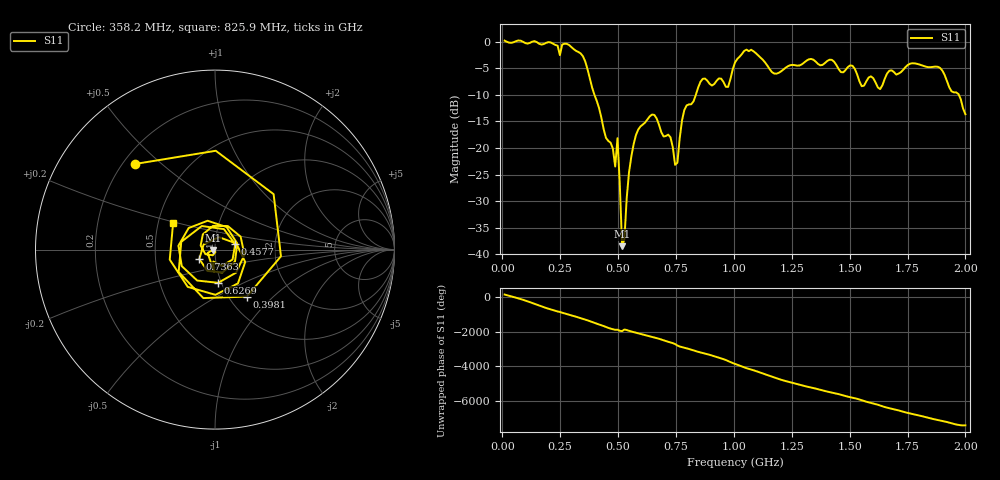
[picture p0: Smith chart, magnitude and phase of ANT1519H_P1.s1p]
!Created with skrf (http://scikit-rf.org).
# Hz S RI R 50.0
!freq ReS11 ImS11
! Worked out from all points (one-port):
!   201 points, 10 MHz to 2 GHz, reference 50 ohm
!   lowest |S11| = -38.5 dB at 517.5 MHz (marker M1), VSWR 1.02, Z = 48.8 - j0.161 ohm
!   |S11| at or under -10 dB: 398.1 MHz to 835.7 MHz (437.6 MHz wide, 70.9 % of centre); 1.972 GHz to end of sweep
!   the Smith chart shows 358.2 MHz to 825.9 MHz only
!   S11 on the Smith chart (normalised r, x): 358.2 MHz: 0.25, +0.41; 398.1 MHz: 1.21, -0.70; 457.8 MHz: 1.25, +0.08; 626.9 MHz: 0.97, -0.37; 736.4 MHz: 0.84, -0.09; 825.9 MHz: 0.60, +0.19
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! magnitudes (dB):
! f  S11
! 10 MHz  0.2
! 258.8 MHz  -0.5
! 358.2 MHz  -3.7
! 398.1 MHz  -10.0
! 457.8 MHz  -18.7
! 487.6 MHz  -23.5
! 497.6 MHz  -18.1
! 507.5 MHz  -26.9
! 517.5 MHz  -38.5
! 527.4 MHz  -37.1
! 547.3 MHz  -24.6
! 567.2 MHz  -19.3
! 626.9 MHz  -14.6
! 736.4 MHz  -19.9
! 756.2 MHz  -22.8
! 786.1 MHz  -12.9
! 825.9 MHz  -11.2
! 865.7 MHz  -7.0
! 975.1 MHz  -8.5
! 1.005 GHz  -3.9
! 1.075 GHz  -1.5
! 1.174 GHz  -6.0
! 1.254 GHz  -4.3
! 1.502 GHz  -4.4
! 1.632 GHz  -8.9
! 1.751 GHz  -4.4
! 1.891 GHz  -4.9
! 2 GHz  -13.6
